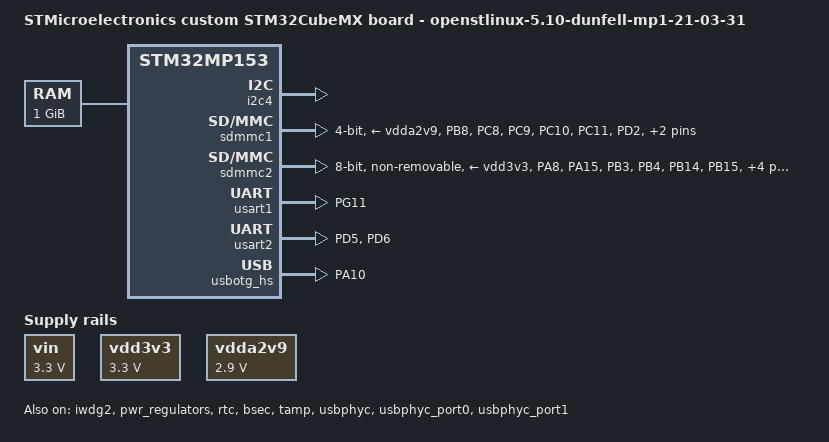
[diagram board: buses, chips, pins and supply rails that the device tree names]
/* SPDX-License-Identifier: (GPL-2.0+ OR BSD-3-Clause) */
/*
 * Copyright (C) STMicroelectronics 2021 - All Rights Reserved
 * Author: STM32CubeMX code generation for STMicroelectronics.
 */

/* For more information on Device Tree configuration, please refer to
 * https://wiki.st.com/stm32mpu/wiki/Category:Device_tree_configuration
 */

/dts-v1/;
#include <dt-bindings/power/stm32mp1-power.h>
#include <dt-bindings/pinctrl/stm32-pinfunc.h>
#include <dt-bindings/clock/stm32mp1-clksrc.h>
#include <dt-bindings/soc/st,stm32-etzpc.h>

#include "stm32mp15-mx.dtsi"

#include "stm32mp153.dtsi"
#include "stm32mp15xf.dtsi"
#include "stm32mp15xxaa-pinctrl.dtsi"
#include "stm32mp15-ddr.dtsi"

/* USER CODE BEGIN includes */
/* USER CODE END includes */

/ {
	model = "STMicroelectronics custom STM32CubeMX board - openstlinux-5.10-dunfell-mp1-21-03-31";
	compatible = "st,stm32mp1-S1-CT", "st,stm32mp153";

	/* USER CODE BEGIN root */

	memory@c0000000{
		device_type = "memory";
		reg = <0xC0000000 0x40000000>;
	};
	
	chosen{
		stdout-path = "serial0:115200n8";
	};

	aliases{
		serial0 = &usart2;
	};

	vin:vin{
		compatible = "regulator-fixed";
		regulator-name = "vin";
		regulator-min-microvolt = <3300000>;
		regulator-max-microvolt = <3300000>;
		regulator-always-on;
	};
	
	vdd_usb: vdd_usb {
		regulator-name = "vdd_usb";
		regulator-min-microvolt = <3300000>;
		regulator-max-microvolt = <3300000>;
	};
	
	vdd3v3: vdd3v3 {
		compatible = "regulator-fixed";
		regulator-name = "vdd3v3";
		regulator-min-microvolt = <3300000>;
		regulator-max-microvolt = <3300000>;
		regulator-always-on;
		regulator-boot-on;
	};
	
	vdda2v9: vdda2v9 {
		compatible = "regulator-fixed";
		regulator-name = "vdda2v9";
		regulator-min-microvolt = <2900000>;
		regulator-max-microvolt = <2900000>;
		regulator-always-on;
		regulator-boot-on;
	};
	
	/* USER CODE END root */

	clocks {
		/* USER CODE BEGIN clocks */
		/* USER CODE END clocks */

		clk_lse: clk-lse {
			/* USER CODE BEGIN clk_lse */
			compatible = "fixed-clock";
 			clock-frequency = <32768>;
			#st,css;
			#st,drive = < LSEDRV_MEDIUM_HIGH >;
			/* USER CODE END clk_lse */
		};

		clk_hse: clk-hse {
			/* USER CODE BEGIN clk_hse */
			#clock-cells = <0>;
 			compatible = "fixed-clock";
 			clock-frequency = <24000000>;
			#st,digbypass;
			/* USER CODE END clk_hse */
		};
	};

}; /*root*/

&pinctrl {
	sdmmc1_pins_mx: sdmmc1_mx-0 {
		pins1 {
			pinmux = <STM32_PINMUX('B', 8, AF5)>; /* SDMMC1_CKIN */
			bias-disable;
		};
		pins2 {
			pinmux = <STM32_PINMUX('C', 8, AF12)>, /* SDMMC1_D0 */
					 <STM32_PINMUX('C', 9, AF12)>, /* SDMMC1_D1 */
					 <STM32_PINMUX('C', 10, AF12)>, /* SDMMC1_D2 */
					 <STM32_PINMUX('C', 11, AF12)>, /* SDMMC1_D3 */
					 <STM32_PINMUX('D', 2, AF12)>, /* SDMMC1_CMD */
					 <STM32_PINMUX('F', 2, AF11)>; /* SDMMC1_D0DIR */
			bias-disable;
			drive-push-pull;
			slew-rate = <1>;
		};
		pins3 {
			pinmux = <STM32_PINMUX('C', 12, AF12)>; /* SDMMC1_CK */
			bias-disable;
			drive-push-pull;
			slew-rate = <3>;
		};
	};

	sdmmc2_pins_mx: sdmmc2_mx-0 {
		pins1 {
			pinmux = <STM32_PINMUX('A', 8, AF9)>, /* SDMMC2_D4 */
					 <STM32_PINMUX('A', 15, AF9)>, /* SDMMC2_D5 */
					 <STM32_PINMUX('B', 3, AF9)>, /* SDMMC2_D2 */
					 <STM32_PINMUX('B', 4, AF9)>, /* SDMMC2_D3 */
					 <STM32_PINMUX('B', 14, AF9)>, /* SDMMC2_D0 */
					 <STM32_PINMUX('B', 15, AF9)>, /* SDMMC2_D1 */
					 <STM32_PINMUX('C', 6, AF10)>, /* SDMMC2_D6 */
					 <STM32_PINMUX('D', 3, AF9)>, /* SDMMC2_D7 */
					 <STM32_PINMUX('G', 6, AF10)>; /* SDMMC2_CMD */
			bias-disable;
			drive-push-pull;
			slew-rate = <1>;
		};
		pins2 {
			pinmux = <STM32_PINMUX('E', 3, AF9)>; /* SDMMC2_CK */
			bias-disable;
			drive-push-pull;
			slew-rate = <3>;
		};
	};

	usart1_pins_mx: usart1_mx-0 {
		pins {
			pinmux = <STM32_PINMUX('G', 11, AF4)>; /* USART1_TX */
			bias-disable;
			drive-push-pull;
			slew-rate = <0>;
		};
	};

	usart2_pins_mx: usart2_mx-0 {
		pins1 {
			pinmux = <STM32_PINMUX('D', 5, AF7)>; /* USART2_TX */
			bias-disable;
			drive-push-pull;
			slew-rate = <0>;
		};
		pins2 {
			pinmux = <STM32_PINMUX('D', 6, AF7)>; /* USART2_RX */
			bias-disable;
		};
	};

	/* USER CODE BEGIN pinctrl */
	usb_otg_hs_pins_mx: usb_otg_hs_mx-0 {
		pins {
			pinmux = <STM32_PINMUX('A', 10, ANALOG)>; /* USB_OTG_HS_ID */
		};
	};
	/* USER CODE END pinctrl */
};

&pinctrl_z {
	i2c4_pins_z_mx: i2c4_mx-0 {
		pins {
			pinmux = <STM32_PINMUX('Z', 4, AF6)>, /* I2C4_SCL */
					 <STM32_PINMUX('Z', 5, AF6)>; /* I2C4_SDA */
			bias-disable;
			drive-open-drain;
			slew-rate = <0>;
		};
	};

	usart1_pins_z_mx: usart1_mx-0 {
		pins {
			pinmux = <STM32_PINMUX('Z', 1, AF7)>; /* USART1_RX */
			bias-disable;
		};
	};

	/* USER CODE BEGIN pinctrl_z */
	/* USER CODE END pinctrl_z */
};

&rcc {
	st,csi-cal;
	st,hsi-cal;
	st,cal-sec = <60>;
	st,clksrc = <
		CLK_MPU_PLL1P
		CLK_AXI_PLL2P
		CLK_MCU_PLL3P
		CLK_PLL12_HSE
		CLK_PLL3_HSE
		CLK_PLL4_HSE
		CLK_RTC_LSE
		CLK_MCO1_DISABLED
		CLK_MCO2_DISABLED
	>;
	st,clkdiv = <
		1 		/*MPU*/
		0 		/*AXI*/
		0 		/*MCU*/
		1 		/*APB1*/
		1 		/*APB2*/
		1 		/*APB3*/
		1 		/*APB4*/
		2 		/*APB5*/
		0 		/*RTC*/
		0 		/*MCO1*/
		0 		/*MCO2*/
	>;
	st,pkcs = <
		CLK_CKPER_DISABLED
		CLK_QSPI_ACLK
		CLK_ETH_PLL4P
		CLK_SDMMC12_PLL4P
		CLK_STGEN_HSE
		CLK_USBPHY_HSE
		CLK_SPI2S1_PLL4P
		CLK_SPI2S23_DISABLED
		CLK_SPI45_PCLK2
		CLK_SPI6_DISABLED
		CLK_I2C46_HSI
		CLK_SDMMC3_DISABLED
		CLK_USBO_USBPHY
		CLK_ADC_DISABLED
		CLK_CEC_DISABLED
		CLK_I2C12_HSI
		CLK_I2C35_DISABLED
		CLK_UART1_PCLK5
		CLK_UART24_PCLK1
		CLK_UART35_PCLK1
		CLK_UART6_PCLK2
		CLK_UART78_DISABLED
		CLK_SPDIF_DISABLED
		CLK_FDCAN_HSE
		CLK_SAI1_DISABLED
		CLK_SAI2_DISABLED
		CLK_SAI3_DISABLED
		CLK_SAI4_DISABLED
		CLK_LPTIM1_DISABLED
		CLK_LPTIM23_DISABLED
		CLK_LPTIM45_DISABLED
	>;
	pll2:st,pll@1 {
		compatible = "st,stm32mp1-pll";
		reg = <1>;
		cfg = < 2 65 1 1 0 PQR(1,0,1) >;
		frac = < 0x1400 >;
	};
	pll3:st,pll@2 {
		compatible = "st,stm32mp1-pll";
		reg = <2>;
		cfg = < 1 33 1 16 36 PQR(1,0,0) >;
		frac = < 0x1a04 >;
	};
	pll4:st,pll@3 {
		compatible = "st,stm32mp1-pll";
		reg = <3>;
		cfg = < 3 98 5 7 7 PQR(1,0,0) >;
	};
};

&etzpc{
	st,decprot = <
	/*"Non Secured" peripherals*/
	DECPROT(STM32MP1_ETZPC_DMA1_ID, DECPROT_NS_RW, DECPROT_UNLOCK)
	DECPROT(STM32MP1_ETZPC_DMAMUX_ID, DECPROT_NS_RW, DECPROT_UNLOCK)
	DECPROT(STM32MP1_ETZPC_ETH_ID, DECPROT_NS_RW, DECPROT_UNLOCK)
	DECPROT(STM32MP1_ETZPC_I2C4_ID, DECPROT_NS_RW, DECPROT_UNLOCK)
	DECPROT(STM32MP1_ETZPC_USART1_ID, DECPROT_NS_RW, DECPROT_UNLOCK)
	DECPROT(STM32MP1_ETZPC_USART2_ID, DECPROT_NS_RW, DECPROT_UNLOCK)
	/*"NS_R S_W" peripherals*/
	DECPROT(STM32MP1_ETZPC_DDRCTRL_ID, DECPROT_NS_R_S_W, DECPROT_LOCK)
	DECPROT(STM32MP1_ETZPC_DDRPHYC_ID, DECPROT_NS_R_S_W, DECPROT_LOCK)
	/*"Secured" peripherals*/
	DECPROT(STM32MP1_ETZPC_STGENC_ID, DECPROT_S_RW, DECPROT_UNLOCK)
	/*"Mcu Isolation" peripherals*/
	DECPROT(STM32MP1_ETZPC_DMA2_ID, DECPROT_MCU_ISOLATION, DECPROT_UNLOCK)
	DECPROT(STM32MP1_ETZPC_TT_FDCAN_ID, DECPROT_MCU_ISOLATION, DECPROT_UNLOCK)
	DECPROT(STM32MP1_ETZPC_I2C1_ID, DECPROT_MCU_ISOLATION, DECPROT_UNLOCK)
	DECPROT(STM32MP1_ETZPC_QSPI_ID, DECPROT_MCU_ISOLATION, DECPROT_UNLOCK)
	DECPROT(STM32MP1_ETZPC_DLYBQ_ID, DECPROT_MCU_ISOLATION, DECPROT_UNLOCK)
	DECPROT(STM32MP1_ETZPC_SPI1_ID, DECPROT_MCU_ISOLATION, DECPROT_UNLOCK)
	DECPROT(STM32MP1_ETZPC_SPI4_ID, DECPROT_MCU_ISOLATION, DECPROT_UNLOCK)
	DECPROT(STM32MP1_ETZPC_UART4_ID, DECPROT_MCU_ISOLATION, DECPROT_UNLOCK)
	DECPROT(STM32MP1_ETZPC_USART3_ID, DECPROT_MCU_ISOLATION, DECPROT_UNLOCK)
	DECPROT(STM32MP1_ETZPC_USART6_ID, DECPROT_MCU_ISOLATION, DECPROT_UNLOCK)
	DECPROT(STM32MP1_ETZPC_OTG_ID, DECPROT_NS_RW, DECPROT_UNLOCK)
	
	/*Restriction: following IDs are not managed  - please to use User-Section if needed:
		STM32MP1_ETZPC_SRAMx_ID, STM32MP1_ETZPC_RETRAM_ID, STM32MP1_ETZPC_BKPSRAM_ID*/

	/* USER CODE BEGIN etzpc_decprot */
		/*STM32CubeMX generates a basic and standard configuration for ETZPC.
		Additional device configurations can be added here if needed.
		"etzpc" node could be also overloaded in "addons" User-Section.*/
	/* USER CODE END etzpc_decprot */
	>;

	secure-status = "okay";

	/* USER CODE BEGIN etzpc */
	/* USER CODE END etzpc */
};

&iwdg2{
	status = "okay";
	secure-status = "okay";

	/* USER CODE BEGIN iwdg2 */
	/* USER CODE END iwdg2 */
};

&rcc{
	status = "okay";
	secure-status = "okay";

	/* USER CODE BEGIN rcc */
	/* USER CODE END rcc */
};

&pwr_regulators {
	status = "okay";
	secure-status = "okay";
	system_suspend_supported_soc_modes = <
		STM32_PM_CSLEEP_RUN
		STM32_PM_CSTOP_ALLOW_LP_STOP
		STM32_PM_CSTOP_ALLOW_STANDBY_DDR_SR
	>;
	system_off_soc_mode = <STM32_PM_CSTOP_ALLOW_STANDBY_DDR_OFF>;
	vdd-supply = <&vdd3v3>;
	vdd_3v3_usbfs-supply = <&vdd_usb>;
};

&rtc{
	status = "okay";
	secure-status = "okay";

	/* USER CODE BEGIN rtc */
	/* USER CODE END rtc */
};

&bsec{
	status = "okay";
	secure-status = "okay";

	/* USER CODE BEGIN bsec */
	/* USER CODE END bsec */
};

&i2c4{
	pinctrl-names = "default";
	pinctrl-0 = <&i2c4_pins_z_mx>;
	status = "okay";
	secure-status = "okay";

	/* USER CODE BEGIN i2c4 */
	/* USER CODE END i2c4 */
};

&sdmmc1{
	pinctrl-names = "default";
	pinctrl-0 = <&sdmmc1_pins_mx>;
	status = "okay";

	/* USER CODE BEGIN sdmmc1 */
	disable-wp;
	st,sig-dir;
	st,neg-edge;
	st,use-ckin;
	bus-width = <4>;
	vmmc-supply = <&vdda2v9>;
	vqmmc-supply = <&vdda2v9>;
	sd-uhs-sdr12;
	sd-uhs-sdr25;
	sd-uhs-sdr50;
	sd-uhs-ddr50;
	/* USER CODE END sdmmc1 */
};

&sdmmc2{
	pinctrl-names = "default";
	pinctrl-0 = <&sdmmc2_pins_mx>;
	status = "okay";

	/* USER CODE BEGIN sdmmc2 */
	non-removable;
	no-sd;
	no-sdio;
	st,neg-edge;
	bus-width = <8>;
	vmmc-supply = <&vdd3v3>;
	vqmmc-supply = <&vdd3v3>;
	mmc-ddr-3_3v;
	/* USER CODE END sdmmc2 */
};

&tamp{
	status = "okay";
	secure-status = "okay";

	/* USER CODE BEGIN tamp */
	/* USER CODE END tamp */
};

&usart1{
	pinctrl-names = "default";
	pinctrl-0 = <&usart1_pins_mx &usart1_pins_z_mx>;
	status = "okay";

	/* USER CODE BEGIN usart1 */
	/* USER CODE END usart1 */
};

&usart2{
	pinctrl-names = "default";
	pinctrl-0 = <&usart2_pins_mx>;
	status = "okay";

	/* USER CODE BEGIN usart2 */
	/* USER CODE END usart2 */
};

/* USER CODE BEGIN addons */
&usbotg_hs{
	pinctrl-names = "default";
	pinctrl-0 = <&usb_otg_hs_pins_mx>;
	status = "okay";

	/* USER CODE BEGIN usbotg_hs */
	/* USER CODE END usbotg_hs */
};

&usbphyc{
	status = "okay";

	/* USER CODE BEGIN usbphyc */
	/* USER CODE END usbphyc */
};

&usbphyc_port0{
	status = "okay";

	/* USER CODE BEGIN usbphyc_port0 */
	/* USER CODE END usbphyc_port0 */
};

&usbphyc_port1{
	status = "okay";

	/* USER CODE BEGIN usbphyc_port1 */
	/* USER CODE END usbphyc_port1 */
};

/* USER CODE END addons */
